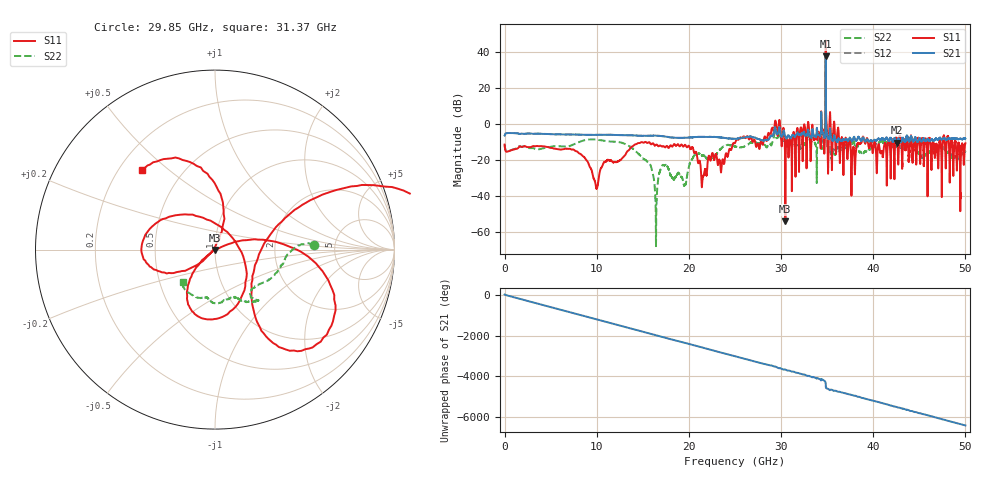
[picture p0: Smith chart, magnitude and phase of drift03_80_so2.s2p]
!Created with skrf (http://scikit-rf.org).
# Hz S RI R 50.0
!freq ReS11 ImS11 ReS21 ImS21 ReS12 ImS12 ReS22 ImS22
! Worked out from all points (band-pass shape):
!   10001 points, 300 kHz to 50 GHz, reference 50 ohm
!   highest |S21| = 37.53 dB at 34.85 GHz (marker M1); lowest = -10.3 dB at 42.57 GHz (marker M2)
!   |S21| within 3 dB of the highest: 34.84441 GHz to 34.84566 GHz (1.249 MHz wide, 0.00359 % of centre)
!   lowest |S11| = -54.0 dB at 30.47 GHz (marker M3), VSWR 1.00, Z = 50 - j0.198 ohm
!   |S11| at or under -10 dB: start of sweep to 15.23 GHz; 15.31 GHz to 25.05 GHz (9.74 GHz wide, 48.3 % of centre); 40.22 GHz to 41.61 GHz (1.392 GHz wide, 3.4 % of centre) (the widest 3 of 49)
!   |S22| runs from -67.8 to 28.6 dB; largest |S21 - S12| = 11
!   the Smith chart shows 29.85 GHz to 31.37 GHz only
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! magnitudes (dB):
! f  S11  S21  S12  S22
! 300 kHz  -11.4  -6.5  -6.5  -11.4
! 8.335 GHz  -17.1  -6.0  -6.0  -9.6
! 9.955 GHz  -35.8  -6.1  -6.1  -8.7
! 10.91 GHz  -21.1  -6.0  -6.1  -9.4
! 13.84 GHz  -12.5  -6.3  -6.3  -13.4
! 16.67 GHz  -12.3  -6.5  -6.5  -30.3
! 17.34 GHz  -12.8  -6.9  -6.9  -22.9
! 19.56 GHz  -11.6  -7.6  -7.6  -34.0
! 20.21 GHz  -13.9  -7.4  -7.5  -20.5
! 21.55 GHz  -28.8  -7.2  -7.2  -17.7
! 25 GHz  -10.6  -8.2  -8.2  -12.5
! 27.51 GHz  -11.0  -8.3  -8.4  -10.7
! 29.6 GHz  -5.5  -5.7  -5.9  -7.8
! 30.47 GHz  -54.0  -7.2  -7.2  -9.0
! 33.34 GHz  -3.8  -6.8  -6.7  -9.2
! 34.85 GHz  46.3  37.5  37.3  28.6
! 35.63 GHz  -6.6  -9.2  -9.1  -16.3
! 37.83 GHz  -12.9  -8.2  -8.2  -9.6
! 38.82 GHz  -8.2  -8.0  -8.0  -16.2
! 41.67 GHz  -9.2  -9.4  -9.3  -11.3
! 42.57 GHz  -9.0  -10.3  -10.3  -13.4
! 50 GHz  -10.7  -8.2  -8.2  -15.5
